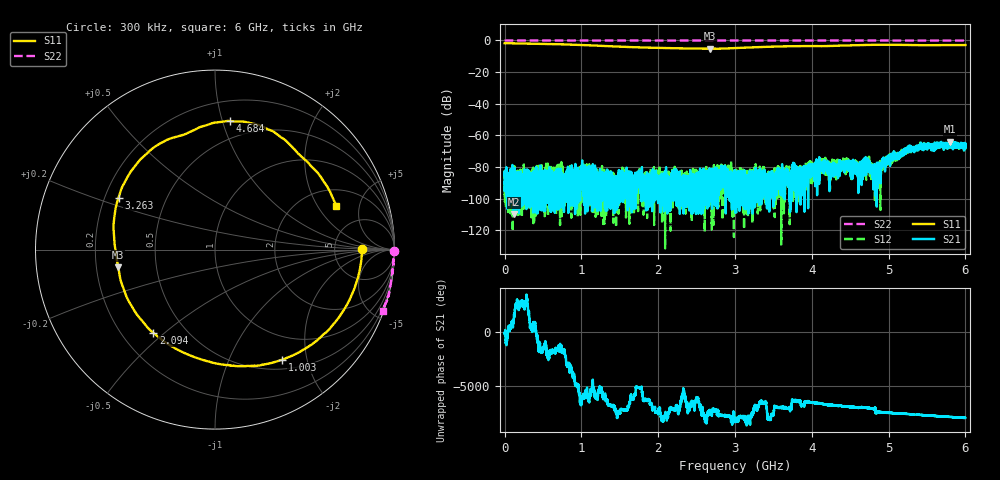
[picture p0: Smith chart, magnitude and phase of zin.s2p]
!  8/10/2020  02:05:28
! Ref Plane: 0.000 mm
# MHZ S MA R  50
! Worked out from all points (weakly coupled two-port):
!   10001 points, 300 kHz to 6 GHz, reference 50 ohm
!   highest |S21| = -64.02 dB at 5.803 GHz (marker M1); lowest = -109.9 dB at 120.3 MHz (marker M2)
!   lowest |S11| = -5.2 dB at 2.674 GHz (marker M3), VSWR 3.42, Z = 14.7 - j4.16 ohm
!   |S11| at or under -10 dB: nowhere
!   |S22| runs from -0.1 to 0.0 dB; largest |S21 - S12| = 0.00024
!   S11 on the Smith chart (normalised r, x): 300 kHz: 10, +0; 1.003 GHz: 0.63, -1.60; 2.094 GHz: 0.33, -0.46; 3.263 GHz: 0.26, +0.24; 4.684 GHz: 0.36, +1.06; 6 GHz: 2.96, +2.96
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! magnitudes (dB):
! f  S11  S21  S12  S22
! 300 kHz  -1.7  -85.1  -82.0  0.0
! 120.3 MHz  -1.8  -109.9  -88.2  0.0
! 1 GHz  -2.9  -84.8  -94.6  0.0
! 1.003 GHz  -2.9  -83.8  -87.9  0.0
! 2.001 GHz  -4.7  -87.1  -93.4  0.0
! 2.094 GHz  -4.8  -95.9  -86.3  0.0
! 2.674 GHz  -5.2  -88.9  -85.9  0.0
! 3 GHz  -4.8  -81.9  -92.3  0.0
! 3.263 GHz  -4.3  -88.1  -92.4  0.0
! 4 GHz  -3.5  -79.6  -77.6  0.0
! 4.151 GHz  -3.6  -79.0  -76.1  0.0
! 4.231 GHz  -3.5  -95.2  -85.6  0.0
! 4.461 GHz  -3.1  -78.2  -78.0  0.0
! 4.626 GHz  -2.9  -78.6  -77.7  0.0
! 4.684 GHz  -2.8  -79.2  -77.0  0.0
! 4.861 GHz  -2.7  -81.0  -83.0  0.0
! 5 GHz  -2.7  -74.6  -74.9  0.0
! 5.139 GHz  -2.7  -73.1  -72.2  0.0
! 5.275 GHz  -2.9  -68.1  -68.0  0.0
! 5.447 GHz  -3.0  -66.9  -66.3  0.0
! 5.803 GHz  -2.9  -64.0  -64.8  -0.1
! 6 GHz  -2.9  -67.1  -65.3  -0.1
